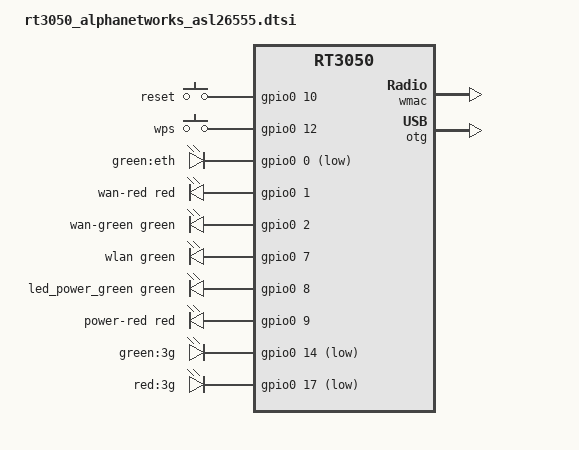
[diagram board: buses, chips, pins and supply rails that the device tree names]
#include "rt3050.dtsi"

#include <dt-bindings/gpio/gpio.h>
#include <dt-bindings/input/input.h>
#include <dt-bindings/leds/common.h>

/ {
	compatible = "alphanetworks,asl26555", "ralink,rt3050-soc";

	aliases {
		led-boot = &led_power_green;
		led-failsafe = &led_power_green;
		led-running = &led_power_green;
		led-upgrade = &led_power_green;
	};

	keys {
		compatible = "gpio-keys";

		reset {
			label = "reset";
			gpios = <&gpio0 10 GPIO_ACTIVE_HIGH>;
			linux,code = <KEY_RESTART>;
		};

		wps {
			label = "wps";
			gpios = <&gpio0 12 GPIO_ACTIVE_HIGH>;
			linux,code = <KEY_WPS_BUTTON>;
		};
	};

	leds {
		compatible = "gpio-leds";

		eth {
			label = "green:eth";
			gpios = <&gpio0 0 GPIO_ACTIVE_LOW>;
		};

		wan-red {
			function = LED_FUNCTION_WAN;
			color = <LED_COLOR_ID_RED>;
			gpios = <&gpio0 1 GPIO_ACTIVE_HIGH>;
		};

		wan-green {
			function = LED_FUNCTION_WAN;
			color = <LED_COLOR_ID_GREEN>;
			gpios = <&gpio0 2 GPIO_ACTIVE_HIGH>;
		};

		wlan {
			function = LED_FUNCTION_WLAN;
			color = <LED_COLOR_ID_GREEN>;
			gpios = <&gpio0 7 GPIO_ACTIVE_HIGH>;
		};

		led_power_green: power-green {
			function = LED_FUNCTION_POWER;
			color = <LED_COLOR_ID_GREEN>;
			gpios = <&gpio0 8 GPIO_ACTIVE_HIGH>;
		};

		power-red {
			function = LED_FUNCTION_POWER;
			color = <LED_COLOR_ID_RED>;
			gpios = <&gpio0 9 GPIO_ACTIVE_HIGH>;
		};

		3g-green {
			label = "green:3g";
			gpios = <&gpio0 14 GPIO_ACTIVE_LOW>;
			trigger-sources = <&otg_port1>;
			linux,default-trigger = "usbport";
		};

		3g-red {
			label = "red:3g";
			gpios = <&gpio0 17 GPIO_ACTIVE_LOW>;
		};
	};
};

&state_default {
	gpio {
		groups = "i2c", "jtag", "rgmii", "mdio", "uartf";
		function = "gpio";
	};
};

&esw {
	mediatek,portmap = <0x1e>;
};

&wmac {
	nvmem-cells = <&eeprom_devdata_4000>;
	nvmem-cell-names = "eeprom";
};

&otg {
	status = "okay";
};
